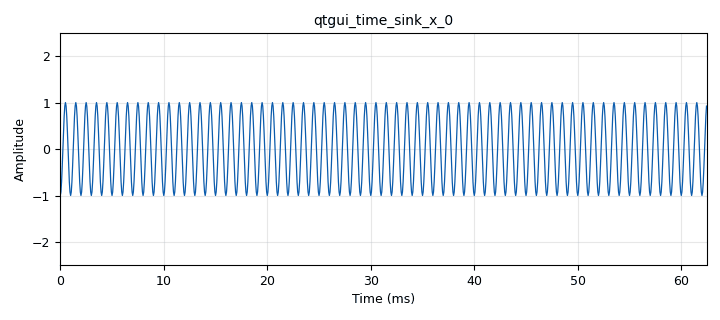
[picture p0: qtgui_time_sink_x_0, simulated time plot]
<?xml version='1.0' encoding='utf-8'?>
<?grc format='1' created='3.7.13'?>
<flow_graph>
<block>
<key>options</key>
<param><key>id</key><value>example</value></param>
<param><key>generate_options</key><value>qt_gui</value></param>
</block>
<block>
<key>variable</key>
<param><key>id</key><value>myvar</value></param>
<param><key>value</key><value>1000</value></param>
</block>
<block>
<key>variable</key>
<param><key>id</key><value>samp_rate</value></param>
<param><key>value</key><value>16000</value></param>
</block>
<block>
<key>analog_sig_source_x</key>
<param><key>id</key><value>analog_sig_source_x_0</value></param>
<param><key>amp</key><value>1</value></param>
<param><key>freq</key><value>myvar</value></param>
<param><key>offset</key><value>0</value></param>
<param><key>type</key><value>float</value></param>
<param><key>samp_rate</key><value>samp_rate</value></param>
<param><key>waveform</key><value>analog.GR_COS_WAVE</value></param>
</block>
<block>
<key>blocks_throttle</key>
<param><key>id</key><value>blocks_throttle_0</value></param>
<param><key>samples_per_second</key><value>samp_rate</value></param>
<param><key>type</key><value>float</value></param>
</block>
<block>
<key>qtgui_time_sink_x</key>
<param><key>id</key><value>qtgui_time_sink_x_0</value></param>
<param><key>color1</key><value>"blue"</value></param>
<param><key>label1</key><value></value></param>
<param><key>size</key><value>myvar</value></param>
<param><key>srate</key><value>samp_rate</value></param>
<param><key>type</key><value>float</value></param>
<param><key>ymax</key><value>2.5</value></param>
<param><key>ymin</key><value>-2.5</value></param>
</block>
<block>
<key>xmlrpc_server</key>
<param><key>id</key><value>xmlrpc_server_0</value></param>
<param><key>addr</key><value>localhost</value></param>
<param><key>port</key><value>8080</value></param>
</block>
<block>
<key>zeromq_pub_sink</key>
<param><key>id</key><value>zeromq_pub_sink_0</value></param>
<param><key>address</key><value>tcp://127.0.0.1:5556</value></param>
<param><key>type</key><value>float</value></param>
<param><key>timeout</key><value>1000</value></param>
</block>
<connection><source_block_id>analog_sig_source_x_0</source_block_id><sink_block_id>blocks_throttle_0</sink_block_id><source_key>0</source_key><sink_key>0</sink_key></connection>
<connection><source_block_id>analog_sig_source_x_0</source_block_id><sink_block_id>zeromq_pub_sink_0</sink_block_id><source_key>0</source_key><sink_key>0</sink_key></connection>
<connection><source_block_id>blocks_throttle_0</source_block_id><sink_block_id>qtgui_time_sink_x_0</sink_block_id><source_key>0</source_key><sink_key>0</sink_key></connection>
</flow_graph>
